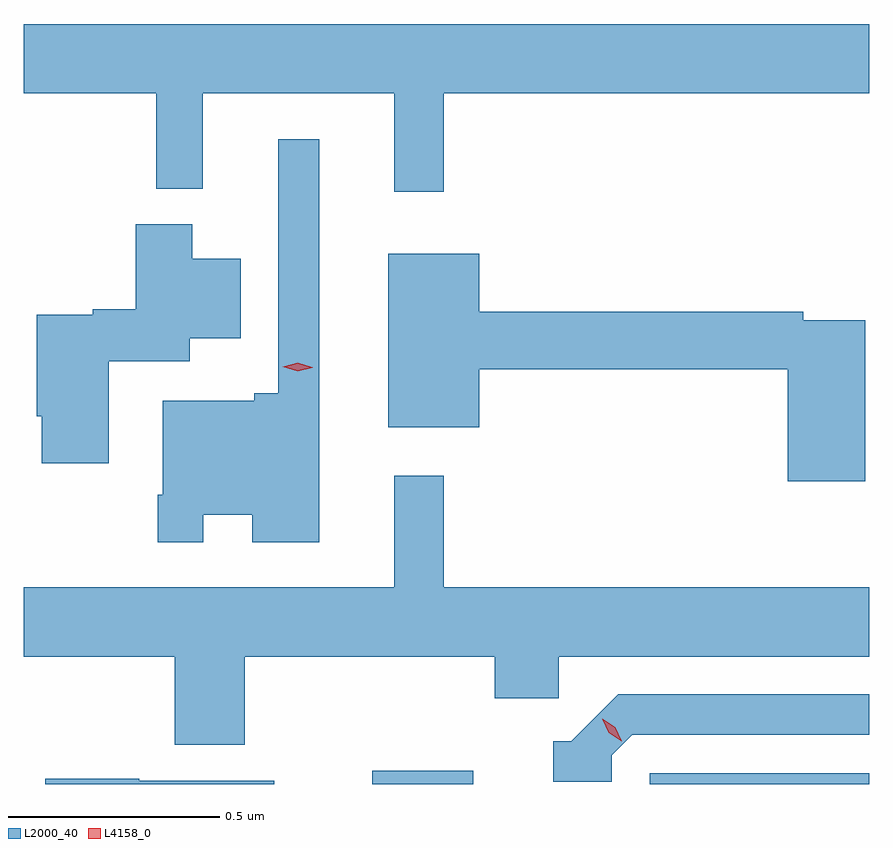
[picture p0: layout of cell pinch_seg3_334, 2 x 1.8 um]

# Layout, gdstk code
import gdstk
lib = gdstk.Library(unit=1e-6, precision=1e-09)
def R(c, l, rs):  # rectangles x0, y0, x1, y1
    for r in rs: c.add(gdstk.rectangle(r[:2], r[2:], *l))
def P(c, l, *ps):  # polygons
    for p in ps: c.add(gdstk.Polygon(p, *l))
L2000_40 = (2000, 40)
L4158_0 = (4158, 0)

pinch_seg3_334 = lib.new_cell('pinch_seg3_334')
R(pinch_seg3_334, L2000_40, [(957.333,721.927,957.572,721.958), (957.99,721.927,958.509,721.953)])
P(pinch_seg3_334, L2000_40, [(957.503,723.56),(958.509,723.56),(958.509,723.724),(956.509,723.724),(956.509,723.56),(956.823,723.56),(956.823,723.335),(956.933,723.335),(956.933,723.56),(957.386,723.56),(957.386,723.327),(957.503,723.327)],
  [(956.934,722.564),(957.05,722.564),(957.05,722.499),(957.208,722.499),(957.208,723.451),(957.111,723.451),(957.111,722.851),(957.054,722.851),(957.054,722.833),(956.838,722.833),(956.838,722.611),(956.826,722.611),(956.826,722.499),(956.934,722.499)],
  [(956.71,722.927),(956.902,722.927),(956.902,722.981),(957.022,722.981),(957.022,723.169),(956.908,723.169),(956.908,723.25),(956.774,723.25),(956.774,723.05),(956.673,723.05),(956.673,723.037),(956.54,723.037),(956.54,722.797),(956.552,722.797),(956.552,722.685),(956.71,722.685)],
  [(958.499,723.024),(958.352,723.024),(958.352,723.044),(957.586,723.044),(957.586,723.181),(957.371,723.181),(957.371,722.771),(957.586,722.771),(957.586,722.908),(958.316,722.908),(958.316,722.643),(958.499,722.643)],
  [(957.032,722.228),(957.623,722.228),(957.623,722.13),(957.774,722.13),(957.774,722.228),(958.509,722.228),(958.509,722.392),(957.503,722.392),(957.503,722.656),(957.386,722.656),(957.386,722.392),(956.509,722.392),(956.509,722.228),(956.867,722.228),(956.867,722.02),(957.032,722.02)],
  [(957.9,721.995),(957.948,722.043),(958.509,722.043),(958.509,722.139),(957.915,722.139),(957.804,722.028),(957.761,722.028),(957.761,721.932),(957.9,721.932)],
  [(957.102,721.935),(956.783,721.935),(956.783,721.94),(956.56,721.94),(956.56,721.927),(957.102,721.927)])
P(pinch_seg3_334, L4158_0, [(957.157,722.903),(957.122,722.914),(957.122,722.914),(957.122,722.914),(957.157,722.923),(957.192,722.912),(957.193,722.912),(957.192,722.911)],
  [(957.923,722.028),(957.893,722.048),(957.877,722.081),(957.877,722.081),(957.877,722.081),(957.908,722.061),(957.923,722.028),(957.923,722.028)])

lib.write_gds('pinch_seg3_334.gds')
